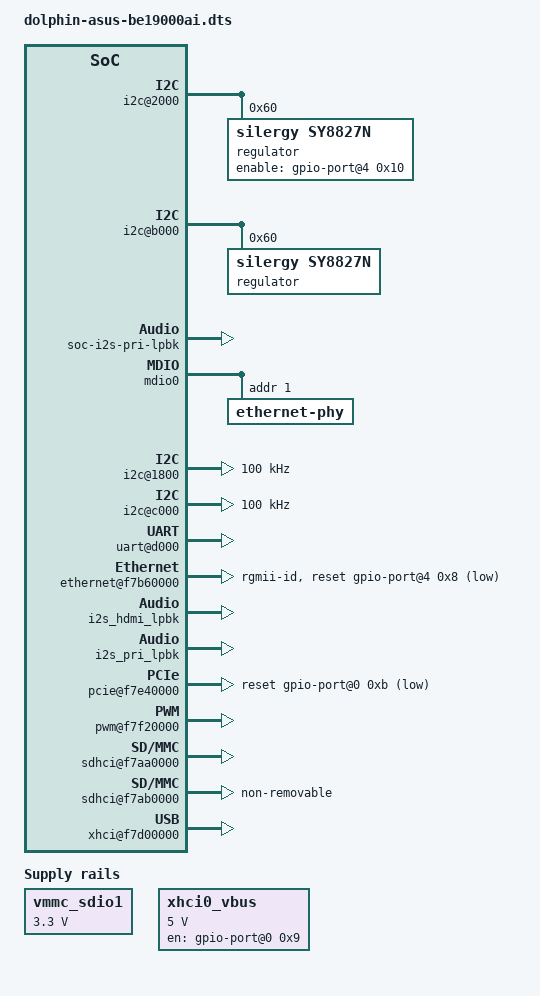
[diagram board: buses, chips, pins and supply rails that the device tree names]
/* SPDX-License-Identifier: GPL-2.0+ */
/* ASUS GT-BE19000AI SL1680 board port candidate.
 * Generated only from ASUS 171-g7f63bc6_19-gec2d4 shipped DTB board delta.
 * Base: Synaptics SDK scarthgap_6.12_v2.6.0 dolphin.dtsi.
 * Compile checked; not hardware validated. Preserve bootloader memory fixups.
 */
/dts-v1/;
/memreserve/ 0x7f000000 0x1000000;

#include "dolphin.dtsi"

/* The standalone AIO dHub interrupt controller accesses registers even
 * though ASUS leaves the separate AVIO/AIO device disabled.
 */
&dhubctr_a {
	clocks = <&clk CLK_AIOSYS>;
	clock-names = "bus";
};

&{/} {
	chosen {
		stdout-path = "serial0:115200n8";
	};
};

&{/} {
	dmabuf_heap {
		compatible = "syna,berlin-heaps";
		pool-num = <0x2>;
		reg-names = "NonSecure", "Secure";
		reg = <0x0 0x7f000000 0x0 0x800000 0x0 0x7f800000 0x0 0x800000>;
		attributes-num-per-pool = <0x2>;
		pool-attributes = <0x105 0xf3a 0x102 0xf3d>;
	};
};

&{/} {
	memory {
		device_type = "memory";
		reg = <0x0 0x1000000 0x0 0x7f000000>;
	};
};

&{/} {
	regulators {
		compatible = "simple-bus";
		#address-cells = <0x1>;
		#size-cells = <0x0>;
		vmmc_sdio1 {
			compatible = "regulator-fixed";
			regulator-min-microvolt = <0x325aa0>;
			regulator-max-microvolt = <0x325aa0>;
			regulator-name = "vmmc_sdio1";
			enable-active-high;
			regulator-boot-on;
		};
		xhci0_vbus {
			compatible = "regulator-fixed";
			regulator-name = "xhci0_vbus";
			regulator-min-microvolt = <0x4c4b40>;
			regulator-max-microvolt = <0x4c4b40>;
			gpio = <&{/soc/apb@f7e80000/gpio@2400/gpio-port@0} 0x9 0x0>;
			enable-active-high;
		};
	};
};

&{/} {
	reserved-memory {
		#address-cells = <0x2>;
		#size-cells = <0x2>;
		ranges;
		ramoops@f901c000 {
			compatible = "ramoops";
			reg = <0x0 0xf901c000 0x0 0x4000>;
			record-size = <0x4000>;
		};
	};
};

&{/soc/apb@f7e80000/i2c@2000} {
	regulator@00 {
		status = "okay";
		compatible = "silergy,sy8827n";
		regulator-name = "vcpu";
		regulator-min-microvolt = <0xaae60>;
		regulator-max-microvolt = <0xf116c>;
		regulator-always-on;
		regulator-boot-on;
		regulator-active-discharge = <0x0>;
		enable-gpios = <&{/soc/apb@f7fc0000/gpio@8000/gpio-port@4} 0x10 0x0>;
		silergy,vsel-step = <0x1>;
		reg = <0x60>;
	};
};

&{/soc/apb@f7fc0000/i2c@b000} {
	regulator@00 {
		status = "okay";
		compatible = "silergy,sy8827n";
		regulator-name = "vcore";
		regulator-min-microvolt = <0xaae60>;
		regulator-max-microvolt = <0xe4e1c>;
		regulator-always-on;
		regulator-boot-on;
		regulator-active-discharge = <0x0>;
		reg = <0x60>;
	};
};

&{/soc/dolphin-asoc} {
	soc-i2s-pri-lpbk {
		status = "okay";
		stream-name = "soc-i2s-pri-lpbk";
		link-name = "soc-i2s-pri-lpbk";
		format = "i2s";
		cpu-node = <&{/soc/i2s_pri_lpbk}>;
		codec-name = "snd-soc-dummy";
		codec-dai-name = "snd-soc-dummy-dai";
		platform-node = <&{/soc/dolphin-pcm}>;
	};
};

&{/soc/ethernet@f7b60000/mdio0} {
	ethernet-phy@1 {
		reg = <0x1>;
		realtek,clkout-disable;
		realtek,rxc-ssc-enable;
		realtek,sysclk-ssc-enable;
	};
};

&{/soc/pinctrl@f7ea8000} {
	gmac0-pmux {
		groups = "RGMII_MDC", "RGMII_MDIO", "RGMII_TXC", "RGMII_TXD0", "RGMII_TXD1", "RGMII_TXD2", "RGMII_TXD3", "RGMII_TXCTL", "RGMII_RXC", "RGMII_RXD0", "RGMII_RXD1", "RGMII_RXD2", "RGMII_RXD3", "RGMII_RXCTL";
		function = "rgmii";
		drive-strength = <0x3>;
	};
};

&{/soc/pinctrl@f7ea8000} {
	i2c1-pmux {
		groups = "SPI1_SS2n", "SPI1_SS3n";
		function = "tw1b";
		drive-strength = <0x3>;
	};
};

&{/soc/pinctrl@f7ea8000} {
	pwm-pmux {
		groups = "STS1_SOP", "STS1_SD";
		function = "gpio";
	};
};

&{/soc/pinctrl@f7ea8400} {
	pcie-pmux {
		groups = "I2S2_DI2", "I2S2_DI3", "I2S2_DI0";
		function = "gpio";
		drive-strength = <0x2>;
	};
};

&{/soc/pinctrl@f7fe2c10} {
	fanfoo-pmux {
		groups = "SM_TW3_SCL";
		function = "gpio";
		drive-strength = <0x7>;
	};
};

&{/soc/pinctrl@f7fe2c10} {
	fanpwm-pmux {
		groups = "SM_TW3_SDA";
		function = "pwm";
		drive-strength = <0x7>;
	};
};

&{/soc/pinctrl@f7fe2c10} {
	gmac0-gpio-pmux {
		groups = "SM_TDO";
		function = "gpio";
	};
};

&{/soc/pinctrl@f7fe2c10} {
	hrxhpd-pmux {
		groups = "SM_HDMI_HPD";
		function = "gpio";
	};
};

&{/soc/pinctrl@f7fe2c10} {
	i2c2-pmux {
		groups = "SM_URT1_TXD", "SM_URT1_RXD";
		function = "tw2b";
		drive-strength = <0x7>;
	};
};

&{/soc/pinctrl@f7fe2c10} {
	levelshift-pmux {
		groups = "SM_HDMIRX_HPD";
		function = "gpio";
	};
};

&{/soc/pinctrl@f7fe2c10} {
	mt6990-pmux {
		groups = "SM_TDI";
		function = "gpio";
		drive-strength = <0x7>;
	};
};

&{/soc/pinctrl@f7fe2c10} {
	sm-misc-pmux {
		groups = "SM_TW2_SCL", "SM_TW2_SDA", "SM_HDMI_HPD", "SM_HDMI_CEC", "SM_TMS", "SM_SPI2_SCLK", "SM_SPI2_SS0n", "SM_SPI2_SS1n", "SM_HDMIRX_HPD", "SM_HDMIRX_PWR5V";
		function = "gpio";
	};
};

&{/soc/pinctrl@f7fe2c10} {
	uart0-pmux {
		groups = "SM_URT0_TXD", "SM_URT0_RXD";
		function = "uart0";
	};
};

&{/} {
	thermal-zones {
		cpu-thermal {
			polling-delay-passive = <0xfa>;
			polling-delay = <0x3e8>;
			thermal-sensors = <&{/soc/hwmon@f7920100}>;
			trips {
				cpu-alert {
					temperature = <0x18e70>;
					hysteresis = <0x7d0>;
					type = "passive";
				};
				cpu-crit {
					temperature = <0x1adb0>;
					hysteresis = <0x7d0>;
					type = "critical";
				};
			};
			cooling-maps {
				map0 {
					trip = <&{/thermal-zones/cpu-thermal/trips/cpu-alert}>;
					cooling-device = <&{/cpus/cpu@0} 0xffffffff 0xffffffff>;
				};
			};
		};
	};
};

&{/} {
	compatible = "syna,dolphin-evk", "syna,dolphin";
	model = "Synaptics Dolphin RDK";
};

&{/cpus/cpu@0} {
	#cooling-cells = <0x2>;
	cpu0-supply = <&{/soc/apb@f7e80000/i2c@2000/regulator@00}>;
};

&{/soc/aout@f74ac000} {
	status = "okay";
};

&{/soc/apb@f7e80000/i2c@1800} {
	clock-frequency = <0x186a0>;
	no-irq-suspend;
	pinctrl-names = "default";
	status = "okay";
};

&{/soc/apb@f7e80000/i2c@2000} {
	pinctrl-0 = <&{/soc/pinctrl@f7ea8000/i2c1-pmux}>;
	pinctrl-names = "default";
	status = "okay";
};

&{/soc/apb@f7fc0000/i2c@b000} {
	pinctrl-0 = <&{/soc/pinctrl@f7fe2c10/i2c2-pmux}>;
	pinctrl-names = "default";
	status = "okay";
};

&{/soc/apb@f7fc0000/i2c@c000} {
	clock-frequency = <0x186a0>;
	no-irq-suspend;
	pinctrl-names = "default";
	status = "okay";
};

&{/soc/apb@f7fc0000/uart@d000} {
	pinctrl-0 = <&{/soc/pinctrl@f7fe2c10/uart0-pmux}>;
	pinctrl-names = "default";
	status = "okay";
};

&{/soc/axi_meter@f7940000} {
	status = "okay";
};

&{/soc/bm} {
	status = "okay";
};

&{/soc/cec@f7fe1000} {
	status = "okay";
};

&{/soc/dolphin-asoc} {
	status = "okay";
};

&{/soc/dolphin-pcm} {
	status = "okay";
};

&{/soc/ethernet@f7b60000} {
	phy-handle = <&{/soc/ethernet@f7b60000/mdio0/ethernet-phy@1}>;
	phy-mode = "rgmii-id";
	pinctrl-0 = <&{/soc/pinctrl@f7ea8000/gmac0-pmux} &{/soc/pinctrl@f7fe2c10/gmac0-gpio-pmux}>;
	pinctrl-names = "default";
	snps,reset-active-low;
	snps,reset-delays-us = <0x0 0x2710 0xc350>;
	snps,reset-gpio = <&{/soc/apb@f7fc0000/gpio@8000/gpio-port@4} 0x8 0x1>;
	status = "okay";
};

&{/soc/fb} {
	status = "okay";
};

&{/soc/gpu@0xf7980000} {
	status = "okay";
};

&{/soc/h1@f7000000} {
	status = "okay";
};

&{/soc/hrx@f74a0000} {
	hrxhpd-gpio = <&{/soc/apb@f7fc0000/gpio@8000/gpio-port@4} 0x14 0x1>;
	pinctrl-0 = <&{/soc/pinctrl@f7fe2c10/hrxhpd-pmux}>;
	pinctrl-names = "default";
	status = "okay";
};

&{/soc/hwmon@f7920100} {
	#thermal-sensor-cells = <0x0>;
};

&{/soc/i2s_hdmi_lpbk} {
	status = "okay";
};

&{/soc/i2s_pri_lpbk} {
	status = "okay";
};

&{/soc/ir} {
	status = "okay";
};

&{/soc/isp@f9100000} {
	dev-addr = <0x70>;
	i2c-bus = <&{/soc/apb@f7fc0000/i2c@c000}>;
	status = "okay";
};

&{/soc/isp_be} {
	status = "okay";
};

&{/soc/isp_scaler} {
	status = "okay";
};

&{/soc/mc_dfc@f7cb0000} {
	status = "okay";
};

&{/soc/npu@f7bc0000} {
	status = "okay";
};

&{/soc/ovp@f78c0000} {
	status = "okay";
};

&{/soc/pcie@f7e40000} {
	enable-gpios = <&{/soc/apb@f7e80000/gpio@2400/gpio-port@0} 0x8 0x0>;
	pinctrl-0 = <&{/soc/pinctrl@f7ea8400/pcie-pmux}>;
	pinctrl-names = "default";
	reset-gpios = <&{/soc/apb@f7e80000/gpio@2400/gpio-port@0} 0xb 0x1>;
	status = "okay";
};

&{/soc/phy@f7c40000} {
	status = "okay";
};

&{/soc/phy@f7d20100} {
	status = "okay";
};

&{/soc/phy@f7e4a02c} {
	status = "okay";
};

&{/soc/pwm@f7f20000} {
	pinctrl-0 = <&{/soc/pinctrl@f7ea8000/pwm-pmux} &{/soc/pinctrl@f7fe2c10/fanpwm-pmux} &{/soc/pinctrl@f7fe2c10/fanfoo-pmux}>;
	pinctrl-names = "default";
	status = "okay";
};

&{/soc/sdhci@f7aa0000} {
	dll-calibration;
	dll-delay-offset = <0xfa>;
	fixed-emmc-driver-type = <0x1>;
	mmc-ddr-1_8v;
	mmc-hs200-1_8v;
	mmc-hs400-1_8v;
	pad-sn = [0e];
	pad-sp = [0e];
	sdclkdl-dc = [1a];
	status = "okay";
};

&{/soc/sdhci@f7ab0000} {
	drv-strength = [03];
	initial-voltage = [01];
	mode1-tune;
	no-mmc;
	no-sd;
	non-removable;
	pad-sn = [0c];
	pad-sp = [0c];
	pinctrl-names = "default";
	sdclkdl-dc = [4b];
	status = "okay";
	vmmc-supply = <&{/regulators/vmmc_sdio1}>;
};

&{/soc/shm} {
	status = "okay";
};

&{/soc/sm@f7f80000} {
	pinctrl-0 = <&{/soc/pinctrl@f7fe2c10/sm-misc-pmux} &{/soc/pinctrl@f7fe2c10/mt6990-pmux}>;
	pinctrl-names = "default";
	status = "okay";
};

&{/soc/tsp@f7a40000} {
	status = "okay";
};

&{/soc/vpp} {
	status = "okay";
};

&{/soc/vxg@f7600000} {
	status = "okay";
};

&{/soc/xhci@f7d00000} {
	status = "okay";
	vbus-supply = <&{/regulators/xhci0_vbus}>;
};
